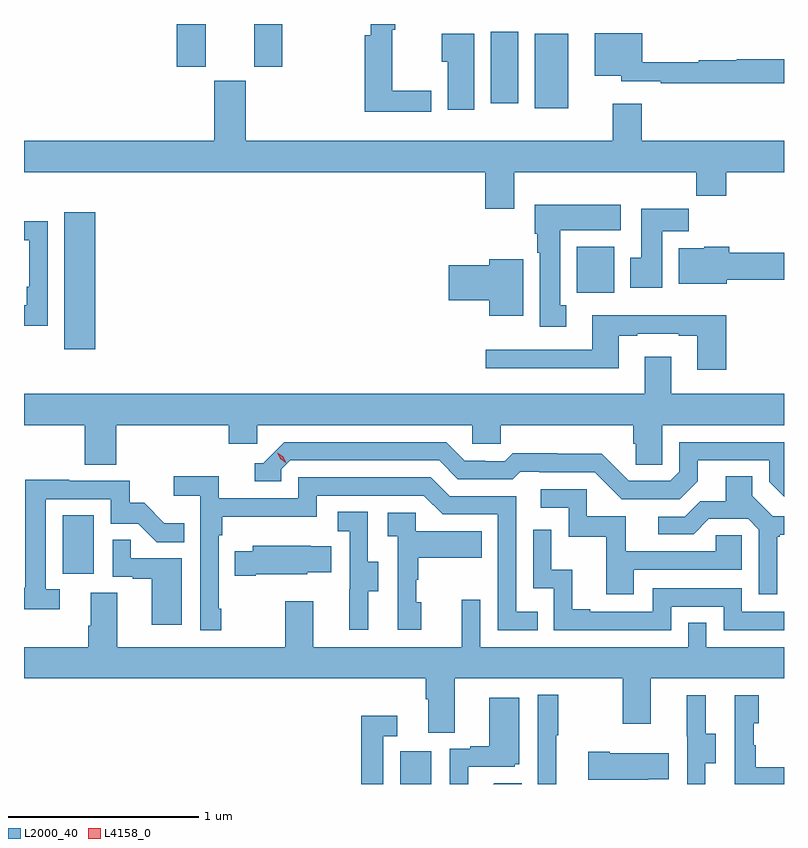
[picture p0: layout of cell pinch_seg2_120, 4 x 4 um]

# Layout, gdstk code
import gdstk
lib = gdstk.Library(unit=1e-6, precision=1e-09)
def R(c, l, rs):  # rectangles x0, y0, x1, y1
    for r in rs: c.add(gdstk.rectangle(r[:2], r[2:], *l))
def P(c, l, *ps):  # polygons
    for p in ps: c.add(gdstk.Polygon(p, *l))
L2000_40 = (2000, 40)
L4158_0 = (4158, 0)

pinch_seg2_120 = lib.new_cell('pinch_seg2_120')
R(pinch_seg2_120, L2000_40, [(1067.75,627.099,1067.914,627.271), (1065.974,628.206,1066.138,628.513), (1065.983,629.388,1066.144,630.109), (1068.68,629.684,1068.877,629.926), (1068.458,630.656,1068.634,631.048), (1068.227,630.681,1068.37,631.057), (1066.574,630.873,1066.726,631.099), (1066.982,630.873,1067.13,631.099)])
P(pinch_seg2_120, L2000_40, [(1067.914,630.748),(1067.708,630.748),(1067.708,631.07),(1067.723,631.07),(1067.723,631.099),(1067.595,631.099),(1067.595,631.039),(1067.563,631.039),(1067.563,630.638),(1067.914,630.638)],
  [(1069.77,630.914),(1069.52,630.914),(1069.52,630.907),(1069.32,630.907),(1069.32,630.899),(1069.024,630.899),(1069.024,631.051),(1068.773,631.051),(1068.773,630.827),(1068.914,630.827),(1068.914,630.798),(1069.12,630.798),(1069.12,630.786),(1069.77,630.786)],
  [(1068.139,631.048),(1067.969,631.048),(1067.969,630.901),(1067.999,630.901),(1067.999,630.648),(1068.139,630.648)],
  [(1068.349,630.32),(1069.309,630.32),(1069.309,630.196),(1069.466,630.196),(1069.466,630.32),(1069.77,630.32),(1069.77,630.484),(1069.022,630.484),(1069.022,630.679),(1068.869,630.679),(1068.869,630.484),(1066.936,630.484),(1066.936,630.801),(1066.772,630.801),(1066.772,630.484),(1065.77,630.484),(1065.77,630.32),(1068.197,630.32),(1068.197,630.126),(1068.349,630.126)],
  [(1068.625,629.618),(1068.592,629.618),(1068.592,630.014),(1068.91,630.014),(1068.91,630.148),(1068.458,630.148),(1068.458,629.994),(1068.47,629.994),(1068.47,629.894),(1068.485,629.894),(1068.485,629.505),(1068.625,629.505)],
  [(1069.129,630.008),(1069.268,630.008),(1069.268,630.127),(1069.019,630.127),(1069.019,629.868),(1068.962,629.868),(1068.962,629.712),(1069.129,629.712)],
  [(1065.894,630.062),(1065.77,630.062),(1065.77,629.961),(1065.798,629.961),(1065.798,629.716),(1065.785,629.716),(1065.785,629.62),(1065.77,629.62),(1065.77,629.511),(1065.894,629.511)],
  [(1069.468,629.753),(1069.77,629.753),(1069.77,629.895),(1069.481,629.895),(1069.481,629.926),(1069.35,629.926),(1069.35,629.92),(1069.217,629.92),(1069.217,629.732),(1069.468,629.732)],
  [(1068.397,629.86),(1068.218,629.86),(1068.218,629.828),(1068.006,629.828),(1068.006,629.645),(1068.218,629.645),(1068.218,629.564),(1068.397,629.564)],
  [(1069.466,629.566),(1068.761,629.566),(1068.761,629.385),(1068.201,629.385),(1068.201,629.288),(1068.901,629.288),(1068.901,629.457),(1068.997,629.457),(1068.997,629.469),(1069.217,629.469),(1069.217,629.457),(1069.313,629.457),(1069.313,629.28),(1069.466,629.28)],
  [(1066.256,628.988),(1066.847,628.988),(1066.847,628.89),(1066.998,628.89),(1066.998,628.988),(1068.129,628.988),(1068.129,628.89),(1068.279,628.89),(1068.279,628.988),(1068.977,628.988),(1068.977,628.89),(1068.991,628.89),(1068.991,628.78),(1069.128,628.78),(1069.128,628.988),(1069.77,628.988),(1069.77,629.152),(1069.177,629.152),(1069.177,629.347),(1069.037,629.347),(1069.037,629.152),(1065.77,629.152),(1065.77,628.988),(1066.091,628.988),(1066.091,628.78),(1066.256,628.78)],
  [(1069.315,628.693),(1069.315,628.803),(1069.692,628.803),(1069.692,628.689),(1069.77,628.611),(1069.77,628.899),(1069.218,628.899),(1069.218,628.743),(1069.17,628.695),(1068.954,628.695),(1068.812,628.837),(1068.576,628.837),(1068.576,628.84),(1068.343,628.84),(1068.301,628.797),(1068.198,628.797),(1068.198,628.8),(1068.091,628.8),(1067.992,628.899),(1067.139,628.899),(1067.028,628.788),(1066.985,628.788),(1066.985,628.692),(1067.124,628.692),(1067.124,628.755),(1067.172,628.803),(1067.955,628.803),(1068.054,628.704),(1068.343,628.704),(1068.382,628.743),(1068.481,628.743),(1068.481,628.74),(1068.774,628.74),(1068.915,628.599),(1069.221,628.599)],
  [(1069.735,628.401),(1069.747,628.401),(1069.747,628.412),(1069.77,628.412),(1069.77,628.509),(1069.71,628.509),(1069.603,628.616),(1069.603,628.718),(1069.463,628.718),(1069.463,628.586),(1069.328,628.586),(1069.248,628.506),(1069.107,628.506),(1069.107,628.413),(1069.294,628.413),(1069.375,628.494),(1069.581,628.494),(1069.638,628.437),(1069.638,628.098),(1069.735,628.098)],
  [(1066.807,628.021),(1066.794,628.021),(1066.794,628.409),(1066.814,628.409),(1066.814,628.505),(1067.31,628.505),(1067.31,628.617),(1067.874,628.617),(1067.973,628.518),(1068.264,628.518),(1068.264,627.909),(1068.473,627.909),(1068.473,628.005),(1068.36,628.005),(1068.36,628.614),(1068.01,628.614),(1067.911,628.713),(1067.214,628.713),(1067.214,628.602),(1066.796,628.602),(1066.796,628.718),(1066.557,628.718),(1066.557,628.616),(1066.698,628.616),(1066.698,627.909),(1066.807,627.909)],
  [(1065.958,628.125),(1065.885,628.125),(1065.885,628.599),(1066.227,628.599),(1066.227,628.47),(1066.371,628.47),(1066.469,628.372),(1066.613,628.372),(1066.613,628.471),(1066.509,628.471),(1066.402,628.578),(1066.326,628.578),(1066.326,628.695),(1066.007,628.695),(1066.007,628.7),(1065.777,628.7),(1065.777,628.132),(1065.77,628.132),(1065.77,628.02),(1065.958,628.02)],
  [(1068.979,628.227),(1069.548,628.227),(1069.548,628.407),(1069.411,628.407),(1069.411,628.323),(1068.937,628.323),(1068.937,628.509),(1068.732,628.509),(1068.732,628.65),(1068.489,628.65),(1068.489,628.554),(1068.636,628.554),(1068.636,628.401),(1068.835,628.401),(1068.835,628.098),(1068.979,628.098)],
  [(1067.581,628.114),(1067.635,628.114),(1067.635,628.269),(1067.58,628.269),(1067.58,628.532),(1067.421,628.532),(1067.421,628.429),(1067.484,628.429),(1067.484,628.125),(1067.483,628.125),(1067.483,627.912),(1067.581,627.912)],
  [(1067.86,628.056),(1067.835,628.056),(1067.835,628.175),(1067.845,628.175),(1067.845,628.289),(1068.179,628.289),(1068.179,628.429),(1067.832,628.429),(1067.832,628.527),(1067.685,628.527),(1067.685,628.403),(1067.736,628.403),(1067.736,627.912),(1067.86,627.912)],
  [(1069.176,628.032),(1069.452,628.032),(1069.452,627.909),(1069.77,627.909),(1069.77,628.005),(1069.548,628.005),(1069.548,628.128),(1069.08,628.128),(1069.08,628.005),(1068.751,628.005),(1068.751,628.018),(1068.656,628.018),(1068.656,628.226),(1068.546,628.226),(1068.546,628.438),(1068.45,628.438),(1068.45,628.128),(1068.558,628.128),(1068.558,627.909),(1069.176,627.909)],
  [(1066.6,628.287),(1066.331,628.287),(1066.331,628.385),(1066.236,628.385),(1066.236,628.191),(1066.343,628.191),(1066.343,628.179),(1066.442,628.179),(1066.442,627.936),(1066.6,627.936)],
  [(1066.99,628.202),(1067.262,628.202),(1067.262,628.214),(1067.387,628.214),(1067.387,628.351),(1067.279,628.351),(1067.279,628.354),(1066.973,628.354),(1066.973,628.324),(1066.879,628.324),(1066.879,628.195),(1066.99,628.195)],
  [(1068.037,627.656),(1068.922,627.656),(1068.922,627.417),(1069.069,627.417),(1069.069,627.656),(1069.77,627.656),(1069.77,627.82),(1069.362,627.82),(1069.362,627.947),(1069.266,627.947),(1069.266,627.82),(1068.171,627.82),(1068.171,628.069),(1068.074,628.069),(1068.074,627.82),(1067.293,627.82),(1067.293,628.06),(1067.146,628.06),(1067.146,627.82),(1066.261,627.82),(1066.261,628.106),(1066.121,628.106),(1066.121,627.932),(1066.109,627.932),(1066.109,627.82),(1065.77,627.82),(1065.77,627.656),(1067.885,627.656),(1067.885,627.544),(1067.897,627.544),(1067.897,627.37),(1068.037,627.37)],
  [(1068.571,627.355),(1068.583,627.355),(1068.583,627.568),(1068.474,627.568),(1068.474,627.099),(1068.571,627.099)],
  [(1069.77,627.187),(1069.621,627.187),(1069.621,627.302),(1069.611,627.302),(1069.611,627.42),(1069.636,627.42),(1069.636,627.565),(1069.512,627.565),(1069.512,627.099),(1069.77,627.099)],
  [(1069.356,627.208),(1069.411,627.208),(1069.411,627.363),(1069.357,627.363),(1069.357,627.565),(1069.259,627.565),(1069.259,627.351),(1069.26,627.351),(1069.26,627.099),(1069.356,627.099)],
  [(1068.107,627.189),(1068.354,627.189),(1068.354,627.204),(1068.376,627.204),(1068.376,627.553),(1068.218,627.553),(1068.218,627.298),(1068.119,627.298),(1068.119,627.285),(1068.012,627.285),(1068.012,627.099),(1068.107,627.099)],
  [(1067.661,627.351),(1067.734,627.351),(1067.734,627.457),(1067.545,627.457),(1067.545,627.099),(1067.661,627.099)],
  [(1069.055,627.125),(1069.163,627.125),(1069.163,627.262),(1068.853,627.262),(1068.853,627.27),(1068.741,627.27),(1068.741,627.122),(1069.055,627.122)],
  [(1068.389,627.104),(1068.245,627.104),(1068.24,627.099),(1068.389,627.099)])
P(pinch_seg2_120, L4158_0, [(1067.148,628.79),(1067.118,628.81),(1067.103,628.842),(1067.103,628.843),(1067.103,628.843),(1067.133,628.823),(1067.149,628.79),(1067.149,628.79)])

lib.write_gds('pinch_seg2_120.gds')
